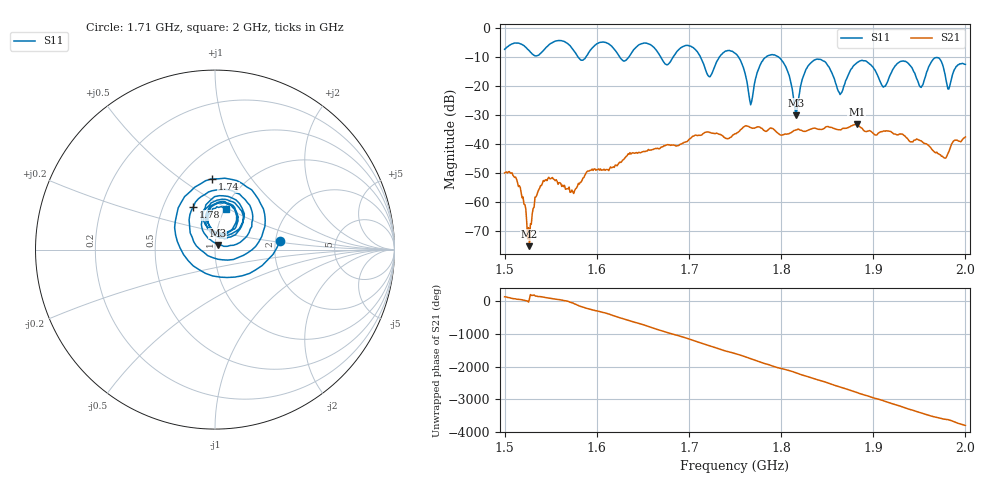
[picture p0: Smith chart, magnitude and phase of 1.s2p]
! NanoVNA-App by SYSJOINT et al v1.1.209 (+OD18)
! Date: 2026-01-21 14:24:02
! Start: 1,5GHz Stop: 2GHz Points: 501
! S-Parameter data: F S11 S21 S12 S22
# Hz S RI R 50
!  Frequency  S11_Real  S11_Imag  S21_Real  S21_Imag  S12_Real  S12_Imag  S22_Real  S22_Imag
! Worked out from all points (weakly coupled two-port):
!   501 points, 1.5 GHz to 2 GHz, reference 50 ohm
!   highest |S21| = -33.38 dB at 1.882 GHz (marker M1); lowest = -75.4 dB at 1.527 GHz (marker M2)
!   lowest |S11| = -30.2 dB at 1.816 GHz (marker M3), VSWR 1.06, Z = 51.5 + j2.73 ohm
!   |S11| at or under -10 dB: 1.712 GHz to 1.733 GHz (21.14 MHz wide, 1.23 % of centre); 1.753 GHz to 1.784 GHz (30.89 MHz wide, 1.75 % of centre); 1.796 GHz to end of sweep (the widest 3 of 6)
!   S12 and S22 are empty: the file has one direction only
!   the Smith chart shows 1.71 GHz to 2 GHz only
!   S11 on the Smith chart (normalised r, x): 1.71 GHz: 2.12, +0.24; 1.74 GHz: 0.71, +0.66; 1.78 GHz: 0.71, +0.36; 2 GHz: 1.01, +0.48
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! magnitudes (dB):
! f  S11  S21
! 1.5 GHz  -7.5  -50.1
! 1.515 GHz  -5.3  -54.8
! 1.527 GHz  -8.1  -75.4
! 1.543 GHz  -7.6  -53.0
! 1.584 GHz  -11.2  -52.7
! 1.605 GHz  -5.1  -49.2
! 1.667 GHz  -8.9  -41.8
! 1.71 GHz  -8.8  -37.2
! 1.722 GHz  -16.9  -36.2
! 1.74 GHz  -8.1  -38.2
! 1.75 GHz  -8.9  -36.6
! 1.767 GHz  -26.6  -34.5
! 1.78 GHz  -11.5  -35.0
! 1.802 GHz  -11.8  -37.0
! 1.816 GHz  -30.2  -35.3
! 1.834 GHz  -11.7  -34.9
! 1.864 GHz  -23.1  -35.3
! 1.882 GHz  -12.2  -33.4
! 1.917 GHz  -17.4  -35.7
! 1.977 GHz  -14.9  -44.9
! 1.982 GHz  -21.2  -42.8
! 2 GHz  -12.7  -37.7
